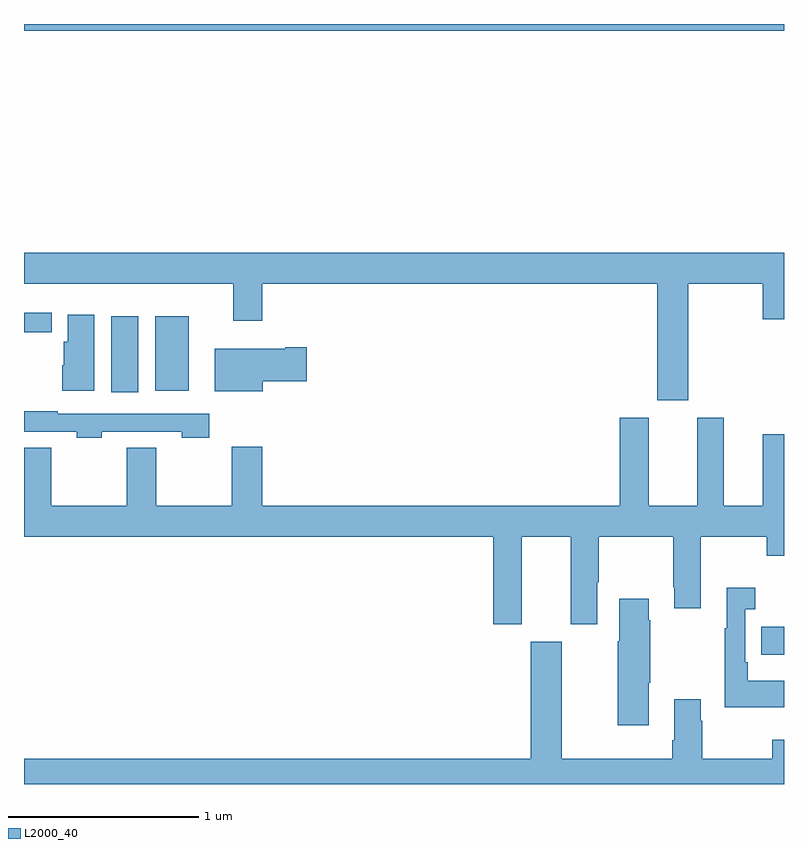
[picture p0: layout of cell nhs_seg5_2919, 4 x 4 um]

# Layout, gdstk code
import gdstk
lib = gdstk.Library(unit=1e-6, precision=1e-09)
def R(c, l, rs):  # rectangles x0, y0, x1, y1
    for r in rs: c.add(gdstk.rectangle(r[:2], r[2:], *l))
def P(c, l, *ps):  # polygons
    for p in ps: c.add(gdstk.Polygon(p, *l))
L2000_40 = (2000, 40)

nhs_seg5_2919 = lib.new_cell('nhs_seg5_2919')
R(nhs_seg5_2919, L2000_40, [(284.881,849.479,285,849.627), (281.459,850.86,281.602,851.26), (281.69,850.868,281.866,851.26), (281,851.176,281.146,851.278), (281,852.764,285,852.799)])
P(nhs_seg5_2919, L2000_40, [(281,851.432),(282.101,851.432),(282.101,851.238),(282.254,851.238),(282.254,851.432),(284.333,851.432),(284.333,850.818),(284.497,850.818),(284.497,851.432),(284.888,851.432),(284.888,851.244),(285,851.244),(285,851.596),(281,851.596)],
  [(281.371,851.269),(281.231,851.269),(281.231,851.127),(281.21,851.127),(281.21,851.004),(281.201,851.004),(281.201,850.868),(281.371,850.868)],
  [(282.256,850.919),(282.487,850.919),(282.487,851.097),(282.374,851.097),(282.374,851.089),(282.005,851.089),(282.005,850.865),(282.256,850.865)],
  [(281.409,850.653),(281.829,850.653),(281.829,850.621),(281.974,850.621),(281.974,850.749),(281.177,850.749),(281.177,850.762),(281,850.762),(281,850.653),(281.277,850.653),(281.277,850.621),(281.409,850.621)],
  [(283.469,849.639),(283.621,849.639),(283.621,850.1),(283.877,850.1),(283.877,849.639),(284.017,849.639),(284.017,849.862),(284.025,849.862),(284.025,850.1),(284.416,850.1),(284.416,849.835),(284.423,849.835),(284.423,849.723),(284.563,849.723),(284.563,850.1),(284.908,850.1),(284.908,850.001),(285,850.001),(285,850.639),(284.888,850.639),(284.888,850.264),(284.683,850.264),(284.683,850.726),(284.543,850.726),(284.543,850.264),(284.287,850.264),(284.287,850.726),(284.135,850.726),(284.135,850.264),(282.254,850.264),(282.254,850.573),(282.094,850.573),(282.094,850.264),(281.696,850.264),(281.696,850.568),(281.542,850.568),(281.542,850.264),(281.144,850.264),(281.144,850.568),(281,850.568),(281,850.1),(283.469,850.1)],
  [(285,849.343),(284.809,849.343),(284.809,849.439),(284.796,849.439),(284.796,849.719),(284.848,849.719),(284.848,849.832),(284.699,849.832),(284.699,849.619),(284.688,849.619),(284.688,849.203),(285,849.203)],
  [(284.287,849.331),(284.295,849.331),(284.295,849.662),(284.287,849.662),(284.287,849.775),(284.132,849.775),(284.132,849.551),(284.125,849.551),(284.125,849.108),(284.287,849.108)],
  [(284.423,849.028),(284.411,849.028),(284.411,848.932),(283.831,848.932),(283.831,849.547),(283.667,849.547),(283.667,848.932),(281,848.932),(281,848.799),(285,848.799),(285,849.031),(284.938,849.031),(284.938,848.932),(284.571,848.932),(284.571,849.131),(284.563,849.131),(284.563,849.244),(284.423,849.244)])

lib.write_gds('nhs_seg5_2919.gds')
